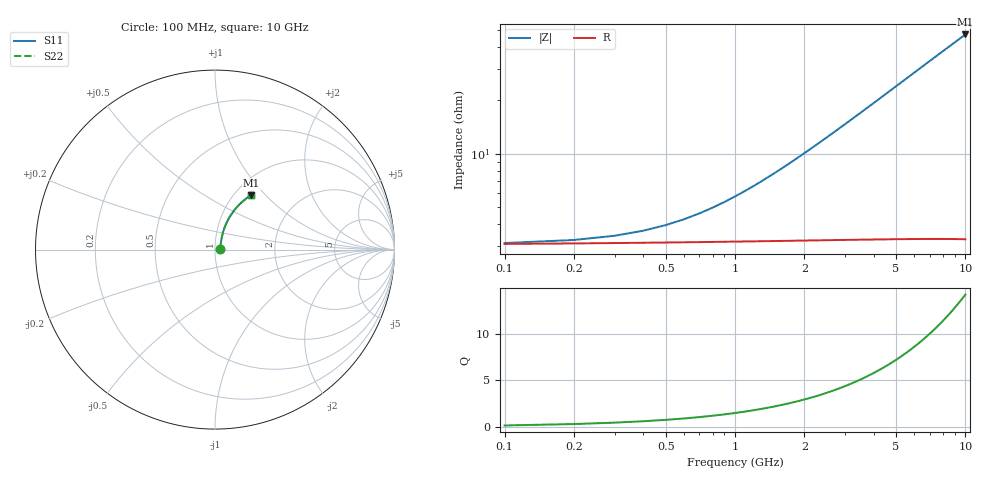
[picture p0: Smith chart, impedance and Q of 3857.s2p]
# Hz S RI R 50.00
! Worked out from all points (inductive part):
!   100 points, 100 MHz to 10 GHz, reference 50 ohm
!   read as one part in series: L = 757 pH near 2.1 GHz
!   highest Q = 14.2 at 10 GHz (marker M1), where L = 745 pH
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1e8  0.0301 0.00382  0.9699 -0.00514  0.9699 -0.00514  0.0301 0.00382
2e8  0.0303 0.00764  0.9697 -0.0103  0.9697 -0.0103  0.0303 0.00764
3e8  0.0306 0.0115  0.9694 -0.0154  0.9694 -0.0154  0.0306 0.0115
4e8  0.0308 0.0153  0.9692 -0.0206  0.9692 -0.0206  0.0308 0.0153
1e9  0.033 0.038  0.9669 -0.0513  0.9669 -0.0513  0.033 0.038
1.2e9  0.034 0.0456  0.9659 -0.0615  0.9659 -0.0615  0.034 0.0456
1.5e9  0.0357 0.0569  0.964 -0.0767  0.964 -0.0767  0.0357 0.0569
1.8e9  0.0378 0.0681  0.9618 -0.0919  0.9618 -0.0919  0.0378 0.0681
2.1e9  0.0403 0.0792  0.9593 -0.107  0.9593 -0.107  0.0403 0.0792
2.5e9  0.0441 0.0938  0.9553 -0.1269  0.9553 -0.1269  0.0441 0.0938
2.9e9  0.0484 0.1082  0.9508 -0.1466  0.9508 -0.1466  0.0484 0.1082
3.4e9  0.0547 0.1259  0.9442 -0.171  0.9442 -0.171  0.0547 0.1259
3.8e9  0.0603 0.1398  0.9383 -0.1901  0.9383 -0.1901  0.0603 0.1398
4.2e9  0.0665 0.1533  0.9319 -0.209  0.9319 -0.209  0.0665 0.1533
4.6e9  0.0732 0.1665  0.9248 -0.2275  0.9248 -0.2275  0.0732 0.1665
5.1e9  0.0823 0.1825  0.9153 -0.2502  0.9153 -0.2502  0.0823 0.1825
5.9e9  0.0983 0.2068  0.8985 -0.2852  0.8985 -0.2852  0.0983 0.2068
6.7e9  0.116 0.2295  0.8799 -0.3186  0.8799 -0.3186  0.116 0.2295
7.5e9  0.1352 0.2504  0.8597 -0.3502  0.8597 -0.3502  0.1352 0.2504
8.4e9  0.1582 0.2717  0.8353 -0.3836  0.8353 -0.3836  0.1582 0.2717
9.2e9  0.1798 0.2886  0.8124 -0.4113  0.8124 -0.4113  0.1798 0.2886
1e10  0.2022 0.3035  0.7886 -0.4371  0.7886 -0.4371  0.2022 0.3035
